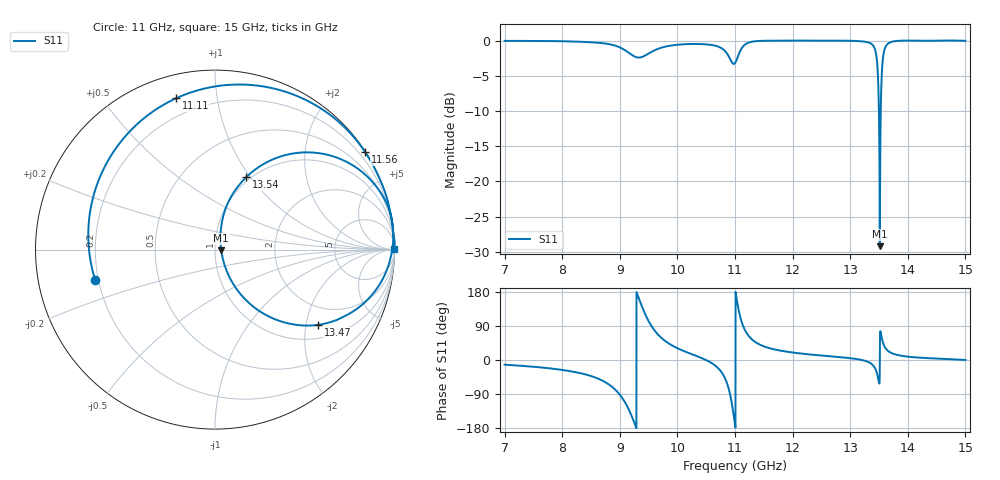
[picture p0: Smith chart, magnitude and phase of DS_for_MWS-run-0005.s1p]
! TOUCHSTONE file generated by CST DESIGN STUDIO
! Date and time: Mon Feb 10 16:44:10 2025
! Project name: C:\Work\MatlabApps\UnitCellType2OptimizationMatlab\CST\unitcell.cst
! Tree item: Tasks\Sweep1\SPara1\S-Parameters
! Header version: 2024
! Port assignment regex: !\s*Touchstone port\s*([0-9]+)\s*=\s*(CST MWS port|CST DES external port|CST DES block port)\s*(.+)\s* \(\"(.*)\"\)(\s*mode\s*([0-9]+))?.*
! Touchstone port assignment:
! Touchstone port 1 = CST DES external port 1 ("")
# GHz S MA R 50
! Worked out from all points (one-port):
!   4001 points, 7 GHz to 15 GHz, reference 50 ohm
!   lowest |S11| = -29.2 dB at 13.51 GHz (marker M1), VSWR 1.07, Z = 53.6 - j0.427 ohm
!   |S11| at or under -10 dB: 13.4984 GHz to 13.53046 GHz (32.06 MHz wide, 0.237 % of centre)
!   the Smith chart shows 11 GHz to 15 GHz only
!   S11 on the Smith chart (normalised r, x): 11 GHz: 0.19, -0.12; 11.11 GHz: 0.11, +0.77; 11.56 GHz: 0.02, +3.37; 13.47 GHz: 1.39, -2.35; 13.54 GHz: 0.95, +0.96; 15 GHz: open
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7  0.9952 -12.4
8  0.9894 -26.2
8.638  0.9636 -50.2
9  0.8947 -91.5
9.138  0.8289 -125.1
9.272  0.7657 -173.4
9.498  0.8086 103.1
9.72  0.89 58.7
10  0.9343 31.1
10.722  0.9016 -23.9
10.822  0.8469 -46.7
10.902  0.759 -82.5
10.996  0.6887 -165.7
11  0.6919 -169.9
11.044  0.7589 147.3
11.108  0.8707 104.3
11.274  0.9775 57.3
11.558  0.9973 33.0
12  0.9996 19.8
13  0.997 4.8
13.364  0.9506 -9.6
13.466  0.7117 -36.1
13.514  0.03476 -6.6
13.538  0.4399 66.6
13.58  0.808 41.2
13.658  0.9526 23.7
14  0.9996 8.8
15  0.9968 0.2
